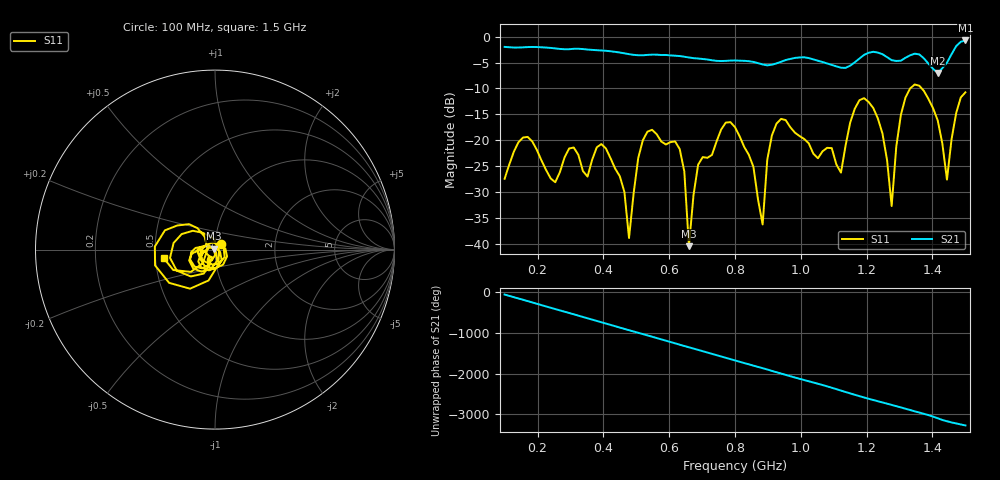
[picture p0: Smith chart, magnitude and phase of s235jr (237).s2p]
! NanoVNA-App
! Date: 2025-09-25 15:06:00
! Start: 100MHz Stop: 1,5GHz Points: 101
! S-Parameter data: F S11 S21 S12 S22
# Hz S RI R 50
!  Frequency  S11_Real  S11_Imag  S21_Real  S21_Imag  S12_Real  S12_Imag  S22_Real  S22_Imag
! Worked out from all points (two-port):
!   101 points, 100 MHz to 1.5 GHz, reference 50 ohm
!   highest |S21| = -0.72 dB at 1.5 GHz (marker M1); lowest = -7.0 dB at 1.416 GHz (marker M2)
!   |S21| within 3 dB of the highest: start of sweep to 628.2 MHz; 1.188 GHz to 1.256 GHz (68.34 MHz wide, 5.59 % of centre) (the widest 2 of 4)
!   lowest |S11| = -40.5 dB at 660 MHz (marker M3), VSWR 1.02, Z = 49.3 + j0.564 ohm
!   |S11| at or under -10 dB: start of sweep to 1.332 GHz; 1.367 GHz to end of sweep
!   S12 and S22 are empty: the file has one direction only
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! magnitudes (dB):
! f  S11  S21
! 100 MHz  -27.5  -2.0
! 170 MHz  -19.4  -2.0
! 338 MHz  -26.0  -2.4
! 408 MHz  -21.6  -2.7
! 478 MHz  -38.9  -3.4
! 520 MHz  -20.0  -3.6
! 576 MHz  -20.3  -3.5
! 632 MHz  -21.7  -3.7
! 660 MHz  -40.5  -4.0
! 688 MHz  -24.7  -4.2
! 800 MHz  -17.5  -4.6
! 884 MHz  -36.3  -5.4
! 926 MHz  -16.8  -5.2
! 1.038 GHz  -22.6  -4.4
! 1.122 GHz  -26.3  -6.0
! 1.192 GHz  -11.9  -3.5
! 1.248 GHz  -18.7  -3.4
! 1.276 GHz  -32.7  -4.5
! 1.332 GHz  -10.0  -3.6
! 1.416 GHz  -16.2  -7.0
! 1.444 GHz  -27.6  -5.0
! 1.5 GHz  -10.8  -0.7
